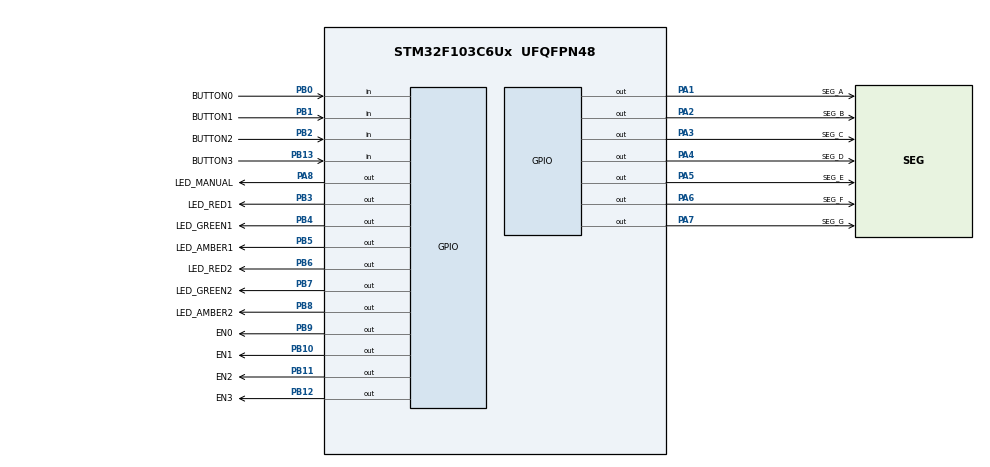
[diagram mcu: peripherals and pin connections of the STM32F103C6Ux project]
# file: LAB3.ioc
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Mcu.Family=STM32F1
Mcu.Name=STM32F103C6Ux
Mcu.Package=UFQFPN48
NVIC.PriorityGroup=NVIC_PRIORITYGROUP_4
NVIC.TIM2_IRQn=true\:0\:0\:false\:false\:true\:true\:true
PA1.GPIO_Label=SEG_A
PA1.Signal=GPIO_Output
PA2.GPIO_Label=SEG_B
PA2.Signal=GPIO_Output
PA3.GPIO_Label=SEG_C
PA3.Signal=GPIO_Output
PA4.GPIO_Label=SEG_D
PA4.Signal=GPIO_Output
PA5.GPIO_Label=SEG_E
PA5.Signal=GPIO_Output
PA6.GPIO_Label=SEG_F
PA6.Signal=GPIO_Output
PA7.GPIO_Label=SEG_G
PA7.Signal=GPIO_Output
PA8.GPIO_Label=LED_MANUAL
PA8.Signal=GPIO_Output
PB0.GPIO_Label=BUTTON0
PB0.GPIO_PuPd=GPIO_PULLUP
PB0.Signal=GPIO_Input
PB1.GPIO_Label=BUTTON1
PB1.GPIO_PuPd=GPIO_PULLUP
PB1.Signal=GPIO_Input
PB10.GPIO_Label=EN1
PB10.Signal=GPIO_Output
PB11.GPIO_Label=EN2
PB11.Signal=GPIO_Output
PB12.GPIO_Label=EN3
PB12.Signal=GPIO_Output
PB13.GPIO_Label=BUTTON3
PB13.GPIO_PuPd=GPIO_PULLUP
PB13.Signal=GPIO_Input
PB2.GPIO_Label=BUTTON2
PB2.GPIO_PuPd=GPIO_PULLUP
PB2.Signal=GPIO_Input
PB3.GPIO_Label=LED_RED1
PB3.Signal=GPIO_Output
PB4.GPIO_Label=LED_GREEN1
PB4.Signal=GPIO_Output
PB5.GPIO_Label=LED_AMBER1
PB5.Signal=GPIO_Output
PB6.GPIO_Label=LED_RED2
PB6.Signal=GPIO_Output
PB7.GPIO_Label=LED_GREEN2
PB7.Signal=GPIO_Output
PB8.GPIO_Label=LED_AMBER2
PB8.Signal=GPIO_Output
PB9.GPIO_Label=EN0
PB9.Signal=GPIO_Output
ProjectManager.HeapSize=0x200
ProjectManager.StackSize=0x400
ProjectManager.TargetToolchain=STM32CubeIDE
RCC.APB1Freq_Value=8000000
RCC.APB2Freq_Value=8000000
TIM2.Period=8
TIM2.Prescaler=7999
VP_SYS_VS_ND.Mode=No_Debug
VP_TIM2_VS_ClockSourceINT.Mode=Internal
board=custom

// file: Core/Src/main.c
/* USER CODE BEGIN Header */
/**
  ******************************************************************************
  * @file           : main.c
  * @brief          : Main program body
  ******************************************************************************
  * @attention
  *
  * <h2><center>&copy; Copyright (c) 2025 STMicroelectronics.
  * All rights reserved.</center></h2>
  *
  * This software component is licensed by ST under BSD 3-Clause license,
  * the "License"; You may not use this file except in compliance with the
  * License. You may obtain a copy of the License at:
  *                        opensource.org/licenses/BSD-3-Clause
  *
  ******************************************************************************
  */
/* USER CODE END Header */
#include "main.h"

/* USER CODE BEGIN Includes */
#include "software_timer.h"
#include "traffic_led.h"
#include "led_display.h"
#include "fsm.h"
#include "fsm_manual.h"
/* USER CODE END Includes */

TIM_HandleTypeDef htim2;

void SystemClock_Config(void);
static void MX_GPIO_Init(void);
static void MX_TIM2_Init(void);

int main(void)
{

  /* MCU Configuration--------------------------------------------------------*/

  /* Reset of all peripherals, Initializes the Flash interface and the Systick. */
  HAL_Init();

  /* Configure the system clock */
  SystemClock_Config();

  /* Initialize all configured peripherals */
  MX_GPIO_Init();
  MX_TIM2_Init();
  /* USER CODE BEGIN 2 */
  HAL_TIM_Base_Start_IT (&htim2 );
  button_Init();
  LED_TRAFFIC_STORE_BUFFER(5, 0);
  LED_TRAFFIC_STORE_BUFFER(2, 1);
  LED_TRAFFIC_STORE_BUFFER(3, 2);
  LED_TRAFFIC_LOAD_BUFFER();

   setTimer(1000);
   setBlinkLedTimer(250);
   setLED7Timer(250);
  /* USER CODE END 2 */

  /* Infinite loop */
  /* USER CODE BEGIN WHILE */

  while (1)
  {

	  fsm_traffic_run();
	  fsm_manual_run();
    /* USER CODE END WHILE */

  }
}

void SystemClock_Config(void)
{
  RCC_OscInitTypeDef RCC_OscInitStruct = {0};
  RCC_ClkInitTypeDef RCC_ClkInitStruct = {0};

  /** Initializes the RCC Oscillators according to the specified parameters
  * in the RCC_OscInitTypeDef structure.
  */
  RCC_OscInitStruct.OscillatorType = RCC_OSCILLATORTYPE_HSI;
  RCC_OscInitStruct.HSIState = RCC_HSI_ON;
  RCC_OscInitStruct.HSICalibrationValue = RCC_HSICALIBRATION_DEFAULT;
  RCC_OscInitStruct.PLL.PLLState = RCC_PLL_NONE;
  if (HAL_RCC_OscConfig(&RCC_OscInitStruct) != HAL_OK)
  {
    Error_Handler();
  }
  /** Initializes the CPU, AHB and APB buses clocks
  */
  RCC_ClkInitStruct.ClockType = RCC_CLOCKTYPE_HCLK|RCC_CLOCKTYPE_SYSCLK
                              |RCC_CLOCKTYPE_PCLK1|RCC_CLOCKTYPE_PCLK2;
  RCC_ClkInitStruct.SYSCLKSource = RCC_SYSCLKSOURCE_HSI;
  RCC_ClkInitStruct.AHBCLKDivider = RCC_SYSCLK_DIV1;
  RCC_ClkInitStruct.APB1CLKDivider = RCC_HCLK_DIV1;
  RCC_ClkInitStruct.APB2CLKDivider = RCC_HCLK_DIV1;

  if (HAL_RCC_ClockConfig(&RCC_ClkInitStruct, FLASH_LATENCY_0) != HAL_OK)
  {
    Error_Handler();
  }
}

static void MX_TIM2_Init(void)
{

  TIM_ClockConfigTypeDef sClockSourceConfig = {0};
  TIM_MasterConfigTypeDef sMasterConfig = {0};

  htim2.Instance = TIM2;
  htim2.Init.Prescaler = 7999;
  htim2.Init.CounterMode = TIM_COUNTERMODE_UP;
  htim2.Init.Period = 8;
  htim2.Init.ClockDivision = TIM_CLOCKDIVISION_DIV1;
  htim2.Init.AutoReloadPreload = TIM_AUTORELOAD_PRELOAD_DISABLE;
  if (HAL_TIM_Base_Init(&htim2) != HAL_OK)
  {
    Error_Handler();
  }
  sClockSourceConfig.ClockSource = TIM_CLOCKSOURCE_INTERNAL;
  if (HAL_TIM_ConfigClockSource(&htim2, &sClockSourceConfig) != HAL_OK)
  {
    Error_Handler();
  }
  sMasterConfig.MasterOutputTrigger = TIM_TRGO_RESET;
  sMasterConfig.MasterSlaveMode = TIM_MASTERSLAVEMODE_DISABLE;
  if (HAL_TIMEx_MasterConfigSynchronization(&htim2, &sMasterConfig) != HAL_OK)
  {
    Error_Handler();
  }

}

static void MX_GPIO_Init(void)
{
  GPIO_InitTypeDef GPIO_InitStruct = {0};

  /* GPIO Ports Clock Enable */
  __HAL_RCC_GPIOA_CLK_ENABLE();
  __HAL_RCC_GPIOB_CLK_ENABLE();

  /*Configure GPIO pin Output Level */
  HAL_GPIO_WritePin(GPIOA, SEG_A_Pin|SEG_B_Pin|SEG_C_Pin|SEG_D_Pin
                          |SEG_E_Pin|SEG_F_Pin|SEG_G_Pin|LED_MANUAL_Pin, GPIO_PIN_RESET);

  /*Configure GPIO pin Output Level */
  HAL_GPIO_WritePin(GPIOB, EN1_Pin|EN2_Pin|EN3_Pin|LED_RED1_Pin
                          |LED_GREEN1_Pin|LED_AMBER1_Pin|LED_RED2_Pin|LED_GREEN2_Pin
                          |LED_AMBER2_Pin|EN0_Pin, GPIO_PIN_RESET);

  /*Configure GPIO pins : SEG_A_Pin SEG_B_Pin SEG_C_Pin SEG_D_Pin
                           SEG_E_Pin SEG_F_Pin SEG_G_Pin LED_MANUAL_Pin */
  GPIO_InitStruct.Pin = SEG_A_Pin|SEG_B_Pin|SEG_C_Pin|SEG_D_Pin
                          |SEG_E_Pin|SEG_F_Pin|SEG_G_Pin|LED_MANUAL_Pin;
  GPIO_InitStruct.Mode = GPIO_MODE_OUTPUT_PP;
  GPIO_InitStruct.Pull = GPIO_NOPULL;
  GPIO_InitStruct.Speed = GPIO_SPEED_FREQ_LOW;
  HAL_GPIO_Init(GPIOA, &GPIO_InitStruct);

  /*Configure GPIO pins : BUTTON0_Pin BUTTON1_Pin BUTTON2_Pin BUTTON3_Pin */
  GPIO_InitStruct.Pin = BUTTON0_Pin|BUTTON1_Pin|BUTTON2_Pin|BUTTON3_Pin;
  GPIO_InitStruct.Mode = GPIO_MODE_INPUT;
  GPIO_InitStruct.Pull = GPIO_PULLUP;
  HAL_GPIO_Init(GPIOB, &GPIO_InitStruct);

  /*Configure GPIO pins : EN1_Pin EN2_Pin EN3_Pin LED_RED1_Pin
                           LED_GREEN1_Pin LED_AMBER1_Pin LED_RED2_Pin LED_GREEN2_Pin
                           LED_AMBER2_Pin EN0_Pin */
  GPIO_InitStruct.Pin = EN1_Pin|EN2_Pin|EN3_Pin|LED_RED1_Pin
                          |LED_GREEN1_Pin|LED_AMBER1_Pin|LED_RED2_Pin|LED_GREEN2_Pin
                          |LED_AMBER2_Pin|EN0_Pin;
  GPIO_InitStruct.Mode = GPIO_MODE_OUTPUT_PP;
  GPIO_InitStruct.Pull = GPIO_NOPULL;
  GPIO_InitStruct.Speed = GPIO_SPEED_FREQ_LOW;
  HAL_GPIO_Init(GPIOB, &GPIO_InitStruct);

}

/* USER CODE BEGIN 4 */
void HAL_TIM_PeriodElapsedCallback ( TIM_HandleTypeDef * htim )
{
	getKeyInput();
	timer_run();
}
/* USER CODE END 4 */

void Error_Handler(void)
{
  __disable_irq();
  while (1)
  {
  }
}

/************************ (C) COPYRIGHT STMicroelectronics *****END OF FILE****/
